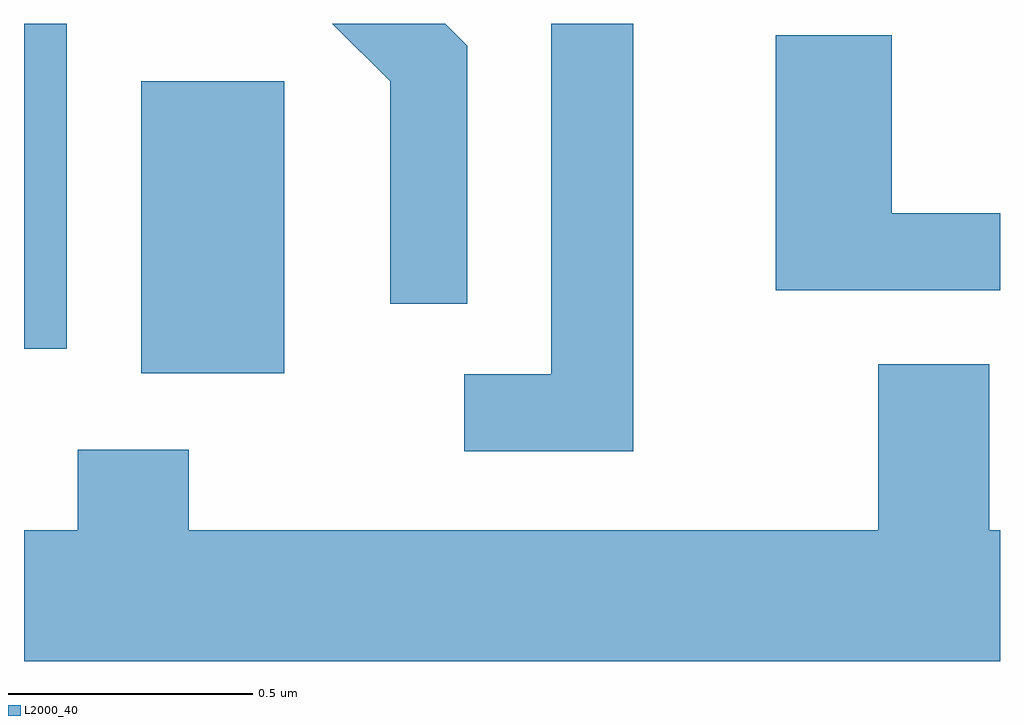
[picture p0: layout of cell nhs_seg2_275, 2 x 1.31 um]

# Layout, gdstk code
import gdstk
lib = gdstk.Library(unit=1e-6, precision=1e-09)
def R(c, l, rs):  # rectangles x0, y0, x1, y1
    for r in rs: c.add(gdstk.rectangle(r[:2], r[2:], *l))
def P(c, l, *ps):  # polygons
    for p in ps: c.add(gdstk.Polygon(p, *l))
L2000_40 = (2000, 40)

nhs_seg2_275 = lib.new_cell('nhs_seg2_275')
R(nhs_seg2_275, L2000_40, [(187.851,980.086,188.144,980.684), (187.611,980.136,187.699,980.802)])
P(nhs_seg2_275, L2000_40, [(188.519,980.757),(188.474,980.802),(188.243,980.802),(188.361,980.684),(188.361,980.228),(188.519,980.228)],
  [(188.859,980.802),(188.691,980.802),(188.691,980.084),(188.513,980.084),(188.513,979.926),(188.859,979.926)],
  [(189.611,980.414),(189.389,980.414),(189.389,980.779),(189.151,980.779),(189.151,980.256),(189.611,980.256)],
  [(189.611,979.764),(189.589,979.764),(189.589,980.104),(189.361,980.104),(189.361,979.764),(187.949,979.764),(187.949,979.929),(187.721,979.929),(187.721,979.764),(187.611,979.764),(187.611,979.496),(189.611,979.496)])

lib.write_gds('nhs_seg2_275.gds')
